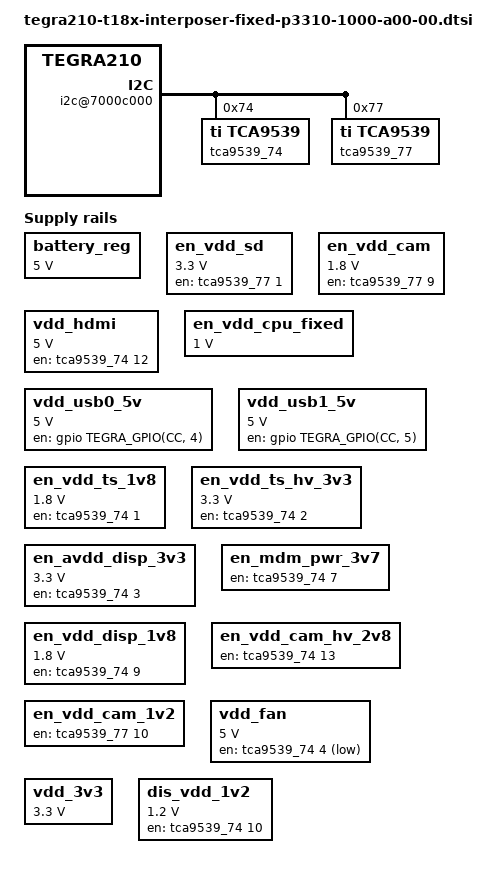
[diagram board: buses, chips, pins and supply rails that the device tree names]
/*
 * Copyright (c) 2015, NVIDIA CORPORATION.  All rights reserved.
 *
 * This program is free software; you can redistribute it and/or modify
 * it under the terms of the GNU General Public License as published by
 * the Free Software Foundation; either version 2 of the License, or
 * (at your option) any later version.
 *
 * This program is distributed in the hope that it will be useful, but WITHOUT
 * ANY WARRANTY; without even the implied warranty of MERCHANTABILITY or
 * FITNESS FOR A PARTICULAR PURPOSE.  See the GNU General Public License for
 * more details.
 *
 * You should have received a copy of the GNU General Public License along
 * with this program; if not, write to the Free Software Foundation, Inc.,
 * 51 Franklin Street, Fifth Floor, Boston, MA  02110-1301, USA.
 */

#include <dt-bindings/gpio/tegra-gpio.h>

/ {
	i2c@7000c000 {
	       tca9539_74: tca9539@74 {
			compatible = "ti,tca9539";
			gpio-controller;
			#gpio-cells = <2>;
			reg = <0x74>;
/*
			interrupt-parent = <&gpio>;
			interrupts = <TEGRA_GPIO(L, 1) 0x0>;
			#interrupt-cells = <2>;
			interrupt-controller;
*/
		};

		tca9539_77: tca9539@77 {
			compatible = "ti,tca9539";
			gpio-controller;
			#gpio-cells = <2>;
			reg = <0x77>;
/*
			interrupt-parent = <&gpio>;
			interrupts = <TEGRA_GPIO(K, 4) 0x0>;
			#interrupt-cells = <2>;
			interrupt-controller;
*/
		};
	};

	regulators {
		compatible = "simple-bus";
		device_type = "fixed-regulators";
		#address-cells = <1>;
		#size-cells = <0>;

		battery_reg: regulator@0 {
			compatible = "regulator-fixed";
			reg = <0>;
			regulator-name = "vdd-ac-bat";
			regulator-min-microvolt = <5000000>;
			regulator-max-microvolt = <5000000>;
			regulator-always-on;
		};

		en_vdd_sd: regulator@1 {
			compatible = "regulator-fixed-sync";
			reg = <1>;
			regulator-name = "en-vdd-sd";
			regulator-min-microvolt = <3300000>;
			regulator-max-microvolt = <3300000>;
			gpio = <&tca9539_77 1 1>;
			enable-active-high;
		};

		en_vdd_cam: regulator@2 {
			compatible = "regulator-fixed-sync";
			reg = <2>;
			regulator-name = "en-vdd-cam";
			regulator-min-microvolt = <1800000>;
			regulator-max-microvolt = <1800000>;
			gpio = <&tca9539_77 9 1>;
			enable-active-high;
		};

		vdd_hdmi: regulator@3 {
			compatible = "regulator-fixed-sync";
			reg = <3>;
			regulator-name = "vdd-hdmi";
			regulator-min-microvolt = <5000000>;
			regulator-max-microvolt = <5000000>;
			gpio = <&tca9539_74 12 1>;
			enable-active-high;
		};

		en_vdd_cpu_fixed: regulator@4 {
			compatible = "regulator-fixed";
			reg = <4>;
			regulator-name = "vdd-cpu-fixed";
			regulator-min-microvolt = <1000000>;
			regulator-max-microvolt = <1000000>;
		};

		vdd_usb0_5v: regulator@5 {
			compatible = "regulator-fixed-sync";
			reg = <5>;
			regulator-name = "vdd-usb0-5v";
			regulator-min-microvolt = <5000000>;
			regulator-max-microvolt = <5000000>;
			gpio = <&gpio TEGRA_GPIO(CC, 4) 0>;
			enable-active-high;
		};

		vdd_usb1_5v: regulator@6 {
			compatible = "regulator-fixed-sync";
			reg = <6>;
			regulator-name = "vdd-usb1-5v";
			regulator-min-microvolt = <5000000>;
			regulator-max-microvolt = <5000000>;
			gpio = <&gpio TEGRA_GPIO(CC, 5) 0>;
			enable-active-high;
		};

		en_vdd_ts_1v8: regulator@7 {
			compatible = "regulator-fixed-sync";
			reg = <7>;
			regulator-name = "en-vdd-ts-1v8";
			regulator-min-microvolt = <1800000>;
			regulator-max-microvolt = <1800000>;
			gpio = <&tca9539_74 1 1>;
			enable-active-high;
		};

		en_vdd_ts_hv_3v3: regulator@8 {
			compatible = "regulator-fixed-sync";
			reg = <8>;
			regulator-name = "en-vdd-ts-hv-3v3";
			regulator-min-microvolt = <3300000>;
			regulator-max-microvolt = <3300000>;
			gpio = <&tca9539_74 2 1>;
			enable-active-high;
		};

		en_avdd_disp_3v3: regulator@9 {
			compatible = "regulator-fixed-sync";
			reg = <9>;
			regulator-name = "en-vdd-disp-3v3";
			regulator-min-microvolt = <3300000>;
			regulator-max-microvolt = <3300000>;
			gpio = <&tca9539_74 3 1>;
			enable-active-high;
		};

		en_mdm_pwr_3v7: regulator@10 {
			compatible = "regulator-fixed-sync";
			reg = <10>;
			regulator-name = "en-mdm-pwr-3v7";
			regulator-min-microvol = <3700000>;
			regulator-max-microvol = <3700000>;
			gpio = <&tca9539_74 7 1>;
			enable-active-high;
		};

		en_vdd_disp_1v8: regulator@11 {
			compatible = "regulator-fixed-sync";
			reg = <11>;
			regulator-name = "en-vdd-disp-1v8";
			regulator-min-microvolt = <1800000>;
			regulator-max-microvolt = <1800000>;
			gpio = <&tca9539_74 9 1>;
			enable-active-high;
		};

		en_vdd_cam_hv_2v8: regulator@12 {
			compatible = "regulator-fixed-sync";
			reg = <12>;
			regulator-name = "en-vdd-cam-hv-2v8";
			regulator-min-microvol = <2800000>;
			regulator-max-microvol = <2800000>;
			gpio = <&tca9539_74 13 1>;
			enable-active-high;
		};

		en_vdd_cam_1v2: regulator@13 {
			compatible = "regulator-fixed-sync";
			reg = <13>;
			regulator-name = "en-vdd-cam-1v2";
			regulator-min-microvol = <1200000>;
			regulator-max-microvol = <1200000>;
			gpio = <&tca9539_77 10 1>;
			enable-active-high;
		};

		vdd_fan: regulator@14 {
			compatible = "regulator-fixed-sync";
			reg = <14>;
			regulator-name = "vdd-fan";
			regulator-min-microvolt = <5000000>;
			regulator-max-microvolt = <5000000>;
			gpio = <&tca9539_74 4 0>;
			regulator-always-on;
		};

		vdd_3v3: regulator@15 {
				compatible = "regulator-fixed-sync";
				reg = <15>;
				regulator-name = "vdd-3v3";
				regulator-min-microvolt = <3300000>;
				regulator-max-microvolt = <3300000>;
		};

		dis_vdd_1v2: regulator@16 {
			compatible = "regulator-fixed-sync";
			reg = <16>;
			regulator-name = "dis-vdd-1v2";
			regulator-min-microvolt = <1200000>;
			regulator-max-microvolt = <1200000>;
			gpio = <&tca9539_74 10 1>;
			enable-active-high;
		};
	};
};
